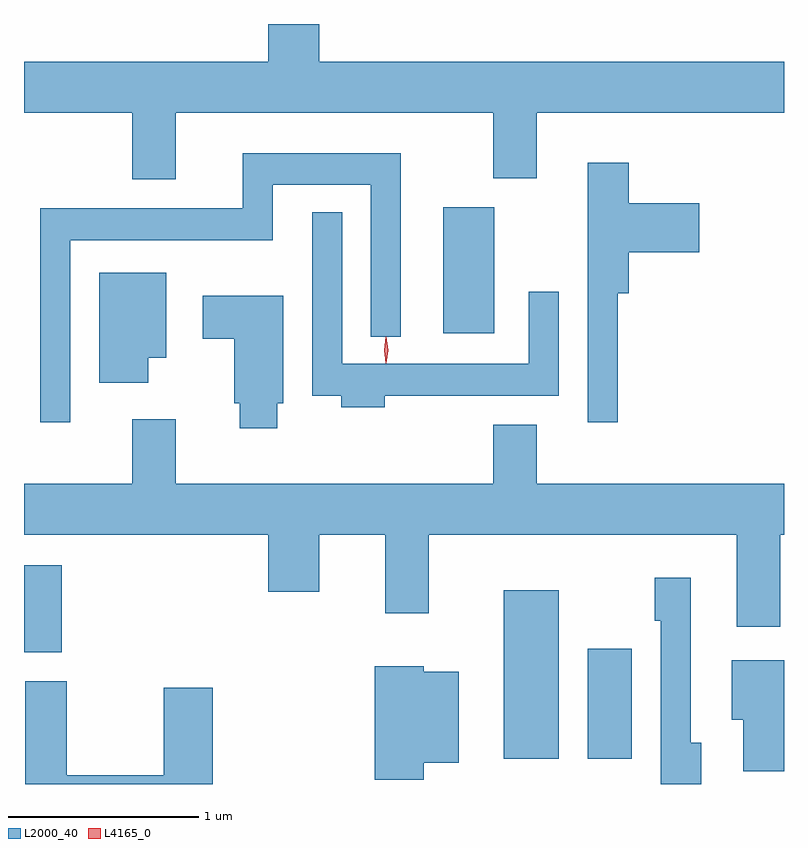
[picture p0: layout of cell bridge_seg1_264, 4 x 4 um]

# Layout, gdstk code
import gdstk
lib = gdstk.Library(unit=1e-6, precision=1e-09)
def R(c, l, rs):  # rectangles x0, y0, x1, y1
    for r in rs: c.add(gdstk.rectangle(r[:2], r[2:], *l))
def P(c, l, *ps):  # polygons
    for p in ps: c.add(gdstk.Polygon(p, *l))
L2000_40 = (2000, 40)
L4165_0 = (4165, 0)

bridge_seg1_264 = lib.new_cell('bridge_seg1_264')
R(bridge_seg1_264, L2000_40, [(955.576,880.636,955.864,881.524), (956.016,880.636,956.249,881.214), (953.05,881.196,953.249,881.654), (955.256,882.876,955.524,883.539)])
P(bridge_seg1_264, L2000_40, [(953.849,884.036),(955.521,884.036),(955.521,883.691),(955.749,883.691),(955.749,884.036),(957.05,884.036),(957.05,884.304),(954.604,884.304),(954.604,884.503),(954.336,884.503),(954.336,884.304),(953.05,884.304),(953.05,884.036),(953.621,884.036),(953.621,883.686),(953.849,883.686)],
  [(953.294,883.366),(954.359,883.366),(954.359,883.656),(954.876,883.656),(954.876,882.858),(955.034,882.858),(955.034,883.824),(954.201,883.824),(954.201,883.534),(953.136,883.534),(953.136,882.408),(953.294,882.408)],
  [(956.174,883.086),(956.234,883.086),(956.234,883.301),(956.604,883.301),(956.604,883.559),(956.234,883.559),(956.234,883.774),(956.016,883.774),(956.016,882.408),(956.174,882.408)],
  [(954.949,882.546),(955.864,882.546),(955.864,883.093),(955.706,883.093),(955.706,882.714),(954.724,882.714),(954.724,883.513),(954.566,883.513),(954.566,882.546),(954.721,882.546),(954.721,882.486),(954.949,882.486)],
  [(953.704,882.746),(953.799,882.746),(953.799,883.194),(953.446,883.194),(953.446,882.616),(953.704,882.616)],
  [(954.384,882.506),(954.414,882.506),(954.414,883.074),(953.991,883.074),(953.991,882.846),(954.156,882.846),(954.156,882.506),(954.186,882.506),(954.186,882.376),(954.384,882.376)],
  [(957.029,881.816),(957.05,881.816),(957.05,882.084),(955.749,882.084),(955.749,882.394),(955.521,882.394),(955.521,882.084),(953.849,882.084),(953.849,882.424),(953.621,882.424),(953.621,882.084),(953.05,882.084),(953.05,881.816),(954.336,881.816),(954.336,881.516),(954.604,881.516),(954.604,881.816),(954.951,881.816),(954.951,881.401),(955.179,881.401),(955.179,881.816),(956.801,881.816),(956.801,881.331),(957.029,881.331)],
  [(956.614,880.719),(956.559,880.719),(956.559,881.589),(956.371,881.589),(956.371,881.361),(956.401,881.361),(956.401,880.503),(956.614,880.503)],
  [(957.05,881.154),(956.776,881.154),(956.776,880.841),(956.836,880.841),(956.836,880.571),(957.05,880.571)],
  [(955.154,880.616),(955.339,880.616),(955.339,881.094),(955.154,881.094),(955.154,881.124),(954.896,881.124),(954.896,880.526),(955.154,880.526)],
  [(954.044,881.009),(953.786,881.009),(953.786,880.549),(953.274,880.549),(953.274,881.044),(953.056,881.044),(953.056,880.503),(954.044,880.503)])
P(bridge_seg1_264, L4165_0, [(954.955,882.717),(954.946,882.787),(954.955,882.856),(954.956,882.856),(954.956,882.856),(954.966,882.787),(954.956,882.717),(954.956,882.717)],
  [(954.955,882.719),(954.954,882.72),(954.945,882.786),(954.954,882.852),(954.955,882.853),(954.955,882.852),(954.965,882.786),(954.955,882.72)])

lib.write_gds('bridge_seg1_264.gds')
